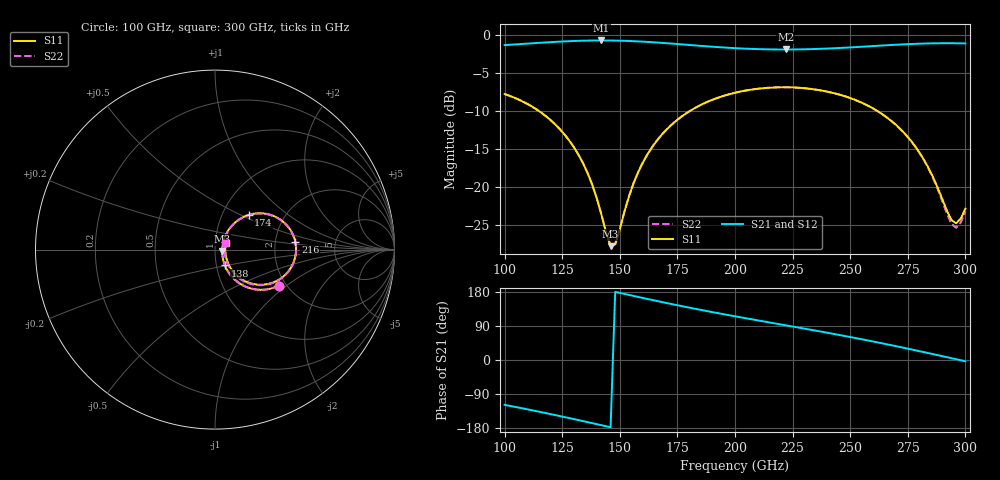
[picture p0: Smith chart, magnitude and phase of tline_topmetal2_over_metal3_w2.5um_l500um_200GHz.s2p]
#  GHZ S DB R 50
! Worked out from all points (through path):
!   101 points, 100 GHz to 300 GHz, reference 50 ohm
!   highest |S21| = -0.76 dB at 142 GHz (marker M1); lowest = -1.9 dB at 222 GHz (marker M2)
!   group delay of S21, straight-line fit = 3.34 ps
!   lowest |S11| = -27.8 dB at 146 GHz (marker M3), VSWR 1.09, Z = 54.1 - j1.04 ohm
!   |S11| at or under -10 dB: 114.8 GHz to 180.5 GHz (65.76 GHz wide, 44.5 % of centre); 261.7 GHz to end of sweep
!   |S22| runs from -27.7 to -6.9 dB; largest |S21 - S12| = 9.7e-14
!   S11 on the Smith chart (normalised r, x): 100 GHz: 1.83, -0.88; 138 GHz: 1.10, -0.20; 174 GHz: 1.33, +0.55; 216 GHz: 2.60, +0.27; 300 GHz: 1.13, +0.09
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100  -7.79 -29.5  -1.36 -118.4  -1.36 -118.4  -7.79 -29.5
120  -11.23 -49.7  -0.98 -142.8  -0.98 -142.8  -11.23 -49.7
134  -16.85 -59.3  -0.79 -161.2  -0.79 -161.2  -16.85 -59.2
138  -19.68 -58.0  -0.77 -166.6  -0.77 -166.6  -19.67 -57.8
142  -23.60 -48.5  -0.76 -172.0  -0.76 -172.0  -23.58 -48.2
146  -27.77 -13.6  -0.77 -177.5  -0.77 -177.5  -27.66 -13.4
148  -27.56 14.3  -0.78 179.8  -0.78 179.8  -27.44 14.2
154  -21.21 51.6  -0.83 171.7  -0.83 171.7  -21.17 51.2
158  -18.03 55.3  -0.88 166.4  -0.88 166.4  -18.01 54.9
168  -13.20 51.1  -1.07 153.3  -1.07 153.3  -13.20 50.8
174  -11.42 46.0  -1.20 145.7  -1.20 145.7  -11.41 45.7
186  -9.10 34.5  -1.49 131.3  -1.49 131.3  -9.09 34.2
200  -7.62 20.8  -1.77 115.4  -1.77 115.4  -7.62 20.5
216  -6.94 5.4  -1.93 98.0  -1.93 98.0  -6.94 5.1
222  -6.90 -0.4  -1.95 91.6  -1.95 91.6  -6.90 -0.7
234  -7.16 -11.8  -1.89 78.6  -1.89 78.6  -7.16 -12.2
252  -8.55 -29.1  -1.64 58.3  -1.64 58.3  -8.55 -29.7
268  -11.36 -43.7  -1.35 38.9  -1.35 38.9  -11.37 -44.5
282  -16.41 -50.4  -1.16 20.8  -1.16 20.8  -16.47 -51.8
294  -24.34 -15.6  -1.12 4.8  -1.12 4.8  -24.86 -17.0
296  -24.76 1.8  -1.13 2.1  -1.13 2.1  -25.35 1.7
300  -22.84 31.5  -1.15 -3.3  -1.15 -3.3  -23.22 33.1
